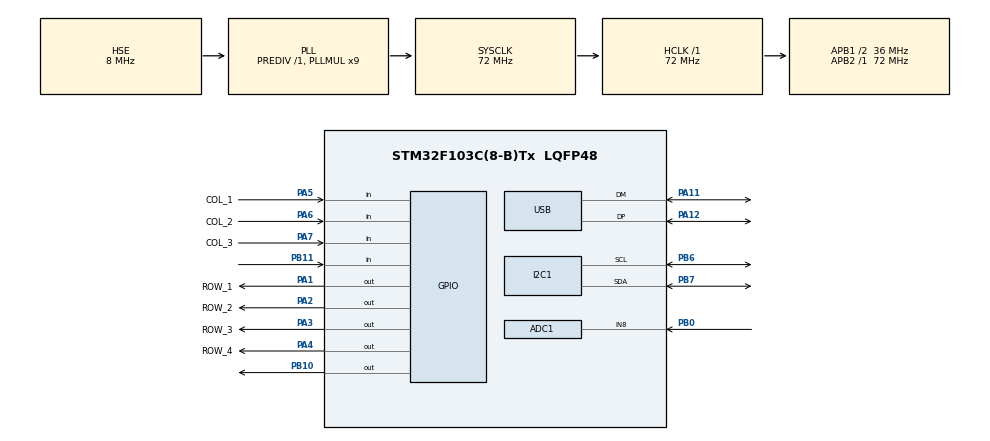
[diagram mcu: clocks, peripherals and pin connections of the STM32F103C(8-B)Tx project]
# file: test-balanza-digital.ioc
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ADC1.Channel-0\#ChannelRegularConversion=ADC_CHANNEL_8
ADC1.ContinuousConvMode=ENABLE
ADC1.NbrOfConversion=1
ADC1.NbrOfConversionFlag=1
ADC1.Rank-0\#ChannelRegularConversion=1
ADC1.SamplingTime-0\#ChannelRegularConversion=ADC_SAMPLETIME_1CYCLE_5
ADC1.master=1
I2C1.I2C_Mode=I2C_Fast
Mcu.Family=STM32F1
Mcu.Name=STM32F103C(8-B)Tx
Mcu.Package=LQFP48
NVIC.PriorityGroup=NVIC_PRIORITYGROUP_4
NVIC.USB_LP_CAN1_RX0_IRQn=true\:0\:0\:false\:false\:true\:false\:true
PA1.GPIO_Label=ROW_1
PA1.Signal=GPIO_Output
PA11.Mode=Device
PA11.Signal=USB_DM
PA12.Mode=Device
PA12.Signal=USB_DP
PA13.Mode=Serial_Wire
PA13.Signal=SYS_JTMS-SWDIO
PA14.Mode=Serial_Wire
PA14.Signal=SYS_JTCK-SWCLK
PA2.GPIO_Label=ROW_2
PA2.Signal=GPIO_Output
PA3.GPIO_Label=ROW_3
PA3.Signal=GPIO_Output
PA4.GPIO_Label=ROW_4
PA4.Signal=GPIO_Output
PA5.GPIO_Label=COL_1
PA5.GPIO_PuPd=GPIO_PULLUP
PA5.Signal=GPIO_Input
PA6.GPIO_Label=COL_2
PA6.GPIO_PuPd=GPIO_PULLUP
PA6.Signal=GPIO_Input
PA7.GPIO_Label=COL_3
PA7.GPIO_PuPd=GPIO_PULLUP
PA7.Signal=GPIO_Input
PB0.Signal=ADCx_IN8
PB10.Signal=GPIO_Output
PB11.Signal=GPIO_Input
PB6.Mode=I2C
PB6.Signal=I2C1_SCL
PB7.Mode=I2C
PB7.Signal=I2C1_SDA
PC14-OSC32_IN.Mode=LSE-External-Oscillator
PC14-OSC32_IN.Signal=RCC_OSC32_IN
PC15-OSC32_OUT.Mode=LSE-External-Oscillator
PC15-OSC32_OUT.Signal=RCC_OSC32_OUT
PD0-OSC_IN.Mode=HSE-External-Oscillator
PD0-OSC_IN.Signal=RCC_OSC_IN
PD1-OSC_OUT.Mode=HSE-External-Oscillator
PD1-OSC_OUT.Signal=RCC_OSC_OUT
ProjectManager.HeapSize=0x200
ProjectManager.StackSize=0x400
ProjectManager.TargetToolchain=STM32CubeIDE
RCC.ADCPresc=RCC_ADCPCLK2_DIV6
RCC.AHBFreq_Value=72000000
RCC.APB1CLKDivider=RCC_HCLK_DIV2
RCC.APB1Freq_Value=36000000
RCC.APB1TimFreq_Value=72000000
RCC.APB2Freq_Value=72000000
RCC.APB2TimFreq_Value=72000000
RCC.HCLKFreq_Value=72000000
RCC.PLLMUL=RCC_PLL_MUL9
RCC.PLLSourceVirtual=RCC_PLLSOURCE_HSE
RCC.SYSCLKFreq_VALUE=72000000
RCC.SYSCLKSource=RCC_SYSCLKSOURCE_PLLCLK
RCC.USBFreq_Value=48000000
RCC.USBPrescaler=RCC_USBCLKSOURCE_PLL_DIV1_5
SH.ADCx_IN8.0=ADC1_IN8,IN8
TIM1.Prescaler=72-1
USB_DEVICE.CLASS_NAME_FS=CDC
USB_DEVICE.VirtualMode=Cdc
USB_DEVICE.VirtualModeFS=Cdc_FS
VP_RTC_VS_RTC_Activate.Mode=RTC_Enabled
VP_TIM1_VS_ClockSourceINT.Mode=Internal
VP_USB_DEVICE_VS_USB_DEVICE_CDC_FS.Mode=CDC_FS
board=custom

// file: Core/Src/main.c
/* USER CODE BEGIN Header */
/**
 ******************************************************************************
 * @file           : main.c
 * @brief          : Main program body
 ******************************************************************************
 * @attention
 *
 * <h2><center>&copy; Copyright (c) 2021 STMicroelectronics.
 * All rights reserved.</center></h2>
 *
 * This software component is licensed by ST under BSD 3-Clause license,
 * the "License"; You may not use this file except in compliance with the
 * License. You may obtain a copy of the License at:
 *                        opensource.org/licenses/BSD-3-Clause
 *
 ******************************************************************************
 */
/* USER CODE END Header */
#include "main.h"
#include "usb_device.h"

/* USER CODE BEGIN Includes */
#include "adc_balanza.h"
#include "debounce.h"
#include "keypad_balanza.h"
//#include "bitmap.h"
#include "fonts.h"
#include "ssd1306.h"
#include "oled_balanza.h"
#include "hx711.h"
#include "register.h"
#include "usb_balanza.h"
/* USER CODE END Includes */

ADC_HandleTypeDef hadc1;

I2C_HandleTypeDef hi2c1;

RTC_HandleTypeDef hrtc;

TIM_HandleTypeDef htim1;

void SystemClock_Config(void);
static void MX_GPIO_Init(void);
static void MX_ADC1_Init(void);
static void MX_I2C1_Init(void);
static void MX_RTC_Init(void);
static void MX_TIM1_Init(void);

/* USER CODE BEGIN 0 */

// START VARIABLE
uint32_t tick_main;
// END VARIABLE

// START VARIABLE SRAM
float escala_sram;
uint32_t offset_sram;
// END VARIABLE SRAM

// START VARIABLE KEYPAD
extern debounce_t deb_col_1; 	//! Variable para inicializar
extern debounce_t deb_col_2;	//! Variable para inicializar
extern debounce_t deb_col_3;	//! Variable para inicializar

uint8_t key = 0;			// DEBE SER LOCAL
enum state s = WELCOME;	// DEBE SER LOCAL
int32_t new_w = 0;			// DEBE SER LOCAL
int32_t last_w = -1;		// DEBE SER LOCAL
int16_t last_bat = 255;		// DEBE SER LOCAL
int16_t charge_por; 		// DEBE SER LOCAL, sería new_bat
uint32_t calib_val = 0;		// DEBE SER LOCAL
//uint8_t new_bat = 4;		// DEBE SER LOCAL
uint8_t flag_print,flag_pc_ready,flag_pc_tare,flag_pc_calib,flag_pc_disconected,flag_weight_qt; //DEBE SER GLOBAL
uint16_t weight_qt;

// END VARIABLE KEYPAD

// START VARIABLE ADC
uint16_t bat_avg;	//! Es el promedio de muestras
int16_t charge_por; //! Variable global para la medicion de bateria

extern uint32_t ticks_adc;				//! Uso interno para hacer pooling
extern uint16_t cuentas_adc;			//! Uso interno para convertir
extern uint8_t bat_index;				//! Usada para avg movl
extern uint32_t bat_buffer[bat_len];	//! Usada para avg movl
extern uint32_t bat_acc;				//! Usada para avg movl
// END VARIABLE ADC

/* USER CODE END 0 */

int main(void)
{
  /* USER CODE BEGIN 1 */

	/*
	 enum state s = BIENVENIDA;

	 int32_t new_w = 0;
	 int32_t last_w = -1;
	 */

  /* USER CODE END 1 */

  /* MCU Configuration--------------------------------------------------------*/

  /* Reset of all peripherals, Initializes the Flash interface and the Systick. */
   HAL_Init();

  /* Configure the system clock */
  SystemClock_Config();

  /* Initialize all configured peripherals */
  MX_GPIO_Init();
  MX_ADC1_Init();
  MX_I2C1_Init();
  MX_RTC_Init();
  MX_TIM1_Init();
  MX_USB_DEVICE_Init();
  /* USER CODE BEGIN 2 */
	Init_balanza();
  /* USER CODE END 2 */

  /* Infinite loop */
  /* USER CODE BEGIN WHILE */
	ticks_adc = HAL_GetTick();					// Variable para ADC

	/* Lectura calibraciones anteriores	*/
	HX711_set_scale_g(obtenerCalibracion());

	tick_main = HAL_GetTick();

	while (1) {
		key = read_keypad();

		charge_por = Measure_battery(); 		// Toma muestras cada 5s y lo promedia
		if((charge_por != UNVALID_VALUE) && (charge_por != last_bat)){
			last_bat = charge_por;
		}

		new_w = HX711_read_g(); // pesamos todo el tiempo y no solo en WEIGHTHING
		if ((new_w > LOW_LIMIT) && (last_w != new_w)){
			flag_print = 1;
			last_w = new_w;
		}

		switch (s) {
		case WELCOME:
			printoled_start();
			HX711_tare(40);	//Tarado bloqueante
			s = WEIGHTHING;
			SSD1306_Clear();
			break;

		case MENU:
			if (key > WELCOME && key < MENU) {
				s = key;	//LA TECLA QUE SE TOCA ME MUEVE
				SSD1306_Clear();

				if (key == CALIBRATE) printoled_msg(0);

				if (key == PRICE) printoled_msg(2);

				tick_main = HAL_GetTick();

				if(key == PC) printoled_PC(0);
			}

			break;

		case WEIGHTHING:
			if (flag_print){
				SSD1306_Clear();
				printoled_weight(last_w, 0);
				flag_print = 0;
			}
			if (key == 10) {
				s = MENU;
				SSD1306_Clear();
				printoled_menu();
				printoled_battery(last_bat);
			}
			break;

		case CALIBRATE:
			if (key != 0) {
				if (key != 12) {
					if (key == 10) {
						calib_val /= 10;
					} else {
						calib_val *= 10;
						if (key == 11)
							key = 0;
						calib_val += key;
					}
					SSD1306_Clear();
					printoled_weight(calib_val, 0);
				} else {
					SSD1306_Clear();
					printoled_msg(1);
					guardarCalibracion(HX711_calib(calib_val));
					calib_val = 0;
					s = WEIGHTHING;
				}
			}

			break;
		case TARE:
			printoled_tare();
			HX711_tare(40);
			s = WEIGHTHING;
			last_w = -3001; // Modificamos para que reimprima la primera vez
			break;

		case PRICE:
			if (key != 0) {
				if (key != 12) {
					if (key == 10) {
						calib_val /= 10;
					}else{
						calib_val *= 10;
						if (key == 11)
							key = 0;
						calib_val += key;
					}
					SSD1306_Clear();
					printoled_price(calib_val, 0);
				} else {
					SSD1306_Clear();
					printoled_price((calib_val*last_w)/1000.0, 1);
					calib_val = 0;
					s = PRICE_VIEW;
					tick_main = HAL_GetTick();
				}
			}
			break;

		case PRICE_VIEW:
			if (key == 10) {
				s = MENU;
				SSD1306_Clear();
				printoled_menu();
				printoled_battery(last_bat);
			}
			break;

		case PC:
			if (flag_print) {
				flag_print = 0;
				serial_tx_num(last_w);
			}
			if(flag_pc_tare){
				flag_pc_tare = 0;
				HX711_tare(40);
			}
			if(flag_pc_calib && flag_weight_qt){
				flag_weight_qt = 0 ;
				flag_pc_calib = 0;
				guardarCalibracion(HX711_calib(weight_qt));
			}
			if(flag_pc_ready){
				flag_pc_ready = 0;
				SSD1306_Clear();
				printoled_PC(1);
			}
			if (flag_pc_disconected) {
				flag_pc_disconected = 0;
				s = MENU;
				SSD1306_Clear();
				printoled_menu();
				printoled_battery(last_bat);
			}
			if(key == 10){
				serial_tx_cmd("D");
				s = MENU;
				SSD1306_Clear();
				printoled_menu();
				printoled_battery(last_bat);
			}
			break;

		default:
			break;

		}

    /* USER CODE END WHILE */

	}
}

void SystemClock_Config(void)
{
  RCC_OscInitTypeDef RCC_OscInitStruct = {0};
  RCC_ClkInitTypeDef RCC_ClkInitStruct = {0};
  RCC_PeriphCLKInitTypeDef PeriphClkInit = {0};

  /** Initializes the RCC Oscillators according to the specified parameters
  * in the RCC_OscInitTypeDef structure.
  */
  RCC_OscInitStruct.OscillatorType = RCC_OSCILLATORTYPE_LSI|RCC_OSCILLATORTYPE_HSE;
  RCC_OscInitStruct.HSEState = RCC_HSE_ON;
  RCC_OscInitStruct.HSEPredivValue = RCC_HSE_PREDIV_DIV1;
  RCC_OscInitStruct.HSIState = RCC_HSI_ON;
  RCC_OscInitStruct.LSIState = RCC_LSI_ON;
  RCC_OscInitStruct.PLL.PLLState = RCC_PLL_ON;
  RCC_OscInitStruct.PLL.PLLSource = RCC_PLLSOURCE_HSE;
  RCC_OscInitStruct.PLL.PLLMUL = RCC_PLL_MUL9;
  if (HAL_RCC_OscConfig(&RCC_OscInitStruct) != HAL_OK)
  {
    Error_Handler();
  }
  /** Initializes the CPU, AHB and APB buses clocks
  */
  RCC_ClkInitStruct.ClockType = RCC_CLOCKTYPE_HCLK|RCC_CLOCKTYPE_SYSCLK
                              |RCC_CLOCKTYPE_PCLK1|RCC_CLOCKTYPE_PCLK2;
  RCC_ClkInitStruct.SYSCLKSource = RCC_SYSCLKSOURCE_PLLCLK;
  RCC_ClkInitStruct.AHBCLKDivider = RCC_SYSCLK_DIV1;
  RCC_ClkInitStruct.APB1CLKDivider = RCC_HCLK_DIV2;
  RCC_ClkInitStruct.APB2CLKDivider = RCC_HCLK_DIV1;

  if (HAL_RCC_ClockConfig(&RCC_ClkInitStruct, FLASH_LATENCY_2) != HAL_OK)
  {
    Error_Handler();
  }
  PeriphClkInit.PeriphClockSelection = RCC_PERIPHCLK_RTC|RCC_PERIPHCLK_ADC
                              |RCC_PERIPHCLK_USB;
  PeriphClkInit.RTCClockSelection = RCC_RTCCLKSOURCE_LSI;
  PeriphClkInit.AdcClockSelection = RCC_ADCPCLK2_DIV6;
  PeriphClkInit.UsbClockSelection = RCC_USBCLKSOURCE_PLL_DIV1_5;
  if (HAL_RCCEx_PeriphCLKConfig(&PeriphClkInit) != HAL_OK)
  {
    Error_Handler();
  }
}

static void MX_ADC1_Init(void)
{

  ADC_ChannelConfTypeDef sConfig = {0};

  /** Common config
  */
  hadc1.Instance = ADC1;
  hadc1.Init.ScanConvMode = ADC_SCAN_DISABLE;
  hadc1.Init.ContinuousConvMode = ENABLE;
  hadc1.Init.DiscontinuousConvMode = DISABLE;
  hadc1.Init.ExternalTrigConv = ADC_SOFTWARE_START;
  hadc1.Init.DataAlign = ADC_DATAALIGN_RIGHT;
  hadc1.Init.NbrOfConversion = 1;
  if (HAL_ADC_Init(&hadc1) != HAL_OK)
  {
    Error_Handler();
  }
  /** Configure Regular Channel
  */
  sConfig.Channel = ADC_CHANNEL_8;
  sConfig.Rank = ADC_REGULAR_RANK_1;
  sConfig.SamplingTime = ADC_SAMPLETIME_1CYCLE_5;
  if (HAL_ADC_ConfigChannel(&hadc1, &sConfig) != HAL_OK)
  {
    Error_Handler();
  }

}

static void MX_I2C1_Init(void)
{

  hi2c1.Instance = I2C1;
  hi2c1.Init.ClockSpeed = 400000;
  hi2c1.Init.DutyCycle = I2C_DUTYCYCLE_2;
  hi2c1.Init.OwnAddress1 = 0;
  hi2c1.Init.AddressingMode = I2C_ADDRESSINGMODE_7BIT;
  hi2c1.Init.DualAddressMode = I2C_DUALADDRESS_DISABLE;
  hi2c1.Init.OwnAddress2 = 0;
  hi2c1.Init.GeneralCallMode = I2C_GENERALCALL_DISABLE;
  hi2c1.Init.NoStretchMode = I2C_NOSTRETCH_DISABLE;
  if (HAL_I2C_Init(&hi2c1) != HAL_OK)
  {
    Error_Handler();
  }

}

static void MX_RTC_Init(void)
{

  /** Initialize RTC Only
  */
  hrtc.Instance = RTC;
  hrtc.Init.AsynchPrediv = RTC_AUTO_1_SECOND;
  hrtc.Init.OutPut = RTC_OUTPUTSOURCE_ALARM;
  if (HAL_RTC_Init(&hrtc) != HAL_OK)
  {
    Error_Handler();
  }

}

static void MX_TIM1_Init(void)
{

  TIM_ClockConfigTypeDef sClockSourceConfig = {0};
  TIM_MasterConfigTypeDef sMasterConfig = {0};

  htim1.Instance = TIM1;
  htim1.Init.Prescaler = 72-1;
  htim1.Init.CounterMode = TIM_COUNTERMODE_UP;
  htim1.Init.Period = 65535;
  htim1.Init.ClockDivision = TIM_CLOCKDIVISION_DIV1;
  htim1.Init.RepetitionCounter = 0;
  htim1.Init.AutoReloadPreload = TIM_AUTORELOAD_PRELOAD_DISABLE;
  if (HAL_TIM_Base_Init(&htim1) != HAL_OK)
  {
    Error_Handler();
  }
  sClockSourceConfig.ClockSource = TIM_CLOCKSOURCE_INTERNAL;
  if (HAL_TIM_ConfigClockSource(&htim1, &sClockSourceConfig) != HAL_OK)
  {
    Error_Handler();
  }
  sMasterConfig.MasterOutputTrigger = TIM_TRGO_RESET;
  sMasterConfig.MasterSlaveMode = TIM_MASTERSLAVEMODE_DISABLE;
  if (HAL_TIMEx_MasterConfigSynchronization(&htim1, &sMasterConfig) != HAL_OK)
  {
    Error_Handler();
  }
  /* USER CODE BEGIN TIM1_Init 2 */
	HAL_TIM_Base_Start(&htim1);
  /* USER CODE END TIM1_Init 2 */

}

static void MX_GPIO_Init(void)
{
  GPIO_InitTypeDef GPIO_InitStruct = {0};

  /* GPIO Ports Clock Enable */
  __HAL_RCC_GPIOC_CLK_ENABLE();
  __HAL_RCC_GPIOD_CLK_ENABLE();
  __HAL_RCC_GPIOA_CLK_ENABLE();
  __HAL_RCC_GPIOB_CLK_ENABLE();

  /*Configure GPIO pin Output Level */
  HAL_GPIO_WritePin(GPIOA, ROW_1_Pin|ROW_2_Pin|ROW_3_Pin|ROW_4_Pin, GPIO_PIN_RESET);

  /*Configure GPIO pin Output Level */
  HAL_GPIO_WritePin(GPIOB, GPIO_PIN_10, GPIO_PIN_RESET);

  /*Configure GPIO pins : ROW_1_Pin ROW_2_Pin ROW_3_Pin ROW_4_Pin */
  GPIO_InitStruct.Pin = ROW_1_Pin|ROW_2_Pin|ROW_3_Pin|ROW_4_Pin;
  GPIO_InitStruct.Mode = GPIO_MODE_OUTPUT_PP;
  GPIO_InitStruct.Pull = GPIO_NOPULL;
  GPIO_InitStruct.Speed = GPIO_SPEED_FREQ_LOW;
  HAL_GPIO_Init(GPIOA, &GPIO_InitStruct);

  /*Configure GPIO pins : COL_1_Pin COL_2_Pin COL_3_Pin */
  GPIO_InitStruct.Pin = COL_1_Pin|COL_2_Pin|COL_3_Pin;
  GPIO_InitStruct.Mode = GPIO_MODE_INPUT;
  GPIO_InitStruct.Pull = GPIO_PULLUP;
  HAL_GPIO_Init(GPIOA, &GPIO_InitStruct);

  /*Configure GPIO pin : PB10 */
  GPIO_InitStruct.Pin = GPIO_PIN_10;
  GPIO_InitStruct.Mode = GPIO_MODE_OUTPUT_PP;
  GPIO_InitStruct.Pull = GPIO_NOPULL;
  GPIO_InitStruct.Speed = GPIO_SPEED_FREQ_LOW;
  HAL_GPIO_Init(GPIOB, &GPIO_InitStruct);

  /*Configure GPIO pin : PB11 */
  GPIO_InitStruct.Pin = GPIO_PIN_11;
  GPIO_InitStruct.Mode = GPIO_MODE_INPUT;
  GPIO_InitStruct.Pull = GPIO_NOPULL;
  HAL_GPIO_Init(GPIOB, &GPIO_InitStruct);

}

/* USER CODE BEGIN 4 */

/**
 * \fn 		: void Init_balanza(void)
 * \brief 	: Inicializa todos los modulos necesarios
 * \details : inicializa teclado.ssd,adc,filtro
 * \author 	: Tobias Bavasso Piizzi
 * \date   	: 26/09/2021
 * \param 	: [in] void
 * \return 	: void
 * */
void Init_balanza(void) {
	SSD1306_Init(); 								// INICIALIZACION OLED

	debounce_init(&deb_col_1, 1, DEBOUNCE_TICKS); 	//Incializo teclado
	debounce_init(&deb_col_2, 1, DEBOUNCE_TICKS);
	debounce_init(&deb_col_3, 1, DEBOUNCE_TICKS);

	HAL_ADCEx_Calibration_Start(&hadc1);			// Calibro interno ADC
	Inicializar_avg_movil(bat_buffer, &bat_index, bat_len, &bat_acc);// Inicializo filtro media movil

	usb_balanza_init(); //Asigno Hook Rx
}
/*
void Compare_print(int16_t last, int16_t new, uint8_t type) {
	if (new != last) {
		last = new;
		switch(type){
		case WEIGHTHING:
			SSD1306_Clear();	//Limpio OLED
			printoled_weight(last, 0);
			break;
		case MENU:
			//SSD1306_Clear();	//Limpio OLED
			printoled_battery(last);
			break;
		case PC:
			serial_tx_num(last);
			break;
		}
	}
}
*/

/* USER CODE END 4 */

void Error_Handler(void)
{
	__disable_irq();
	while (1) {
	}
}

/************************ (C) COPYRIGHT STMicroelectronics *****END OF FILE****/
